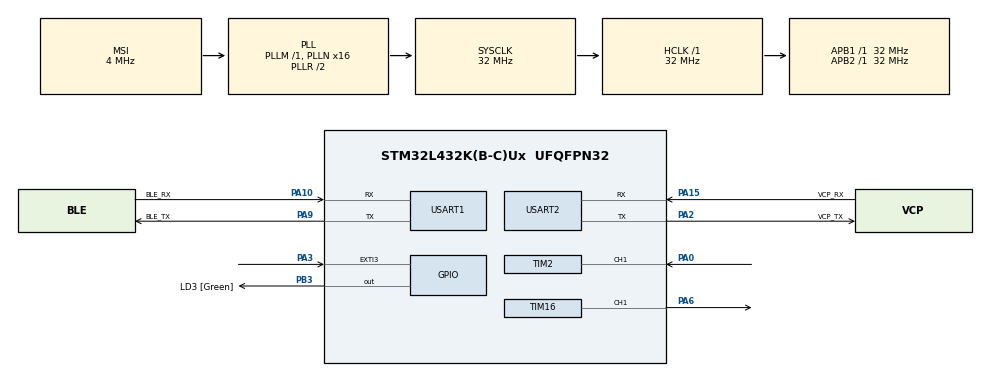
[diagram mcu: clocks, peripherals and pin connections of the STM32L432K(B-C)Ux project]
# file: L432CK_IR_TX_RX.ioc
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Dma.Request0=USART1_RX
Dma.Request1=USART1_TX
Dma.Request2=USART2_TX
Dma.USART1_RX.0.Direction=DMA_PERIPH_TO_MEMORY
Dma.USART1_RX.0.Instance=DMA1_Channel5
Dma.USART1_RX.0.MemDataAlignment=DMA_MDATAALIGN_BYTE
Dma.USART1_RX.0.MemInc=DMA_MINC_ENABLE
Dma.USART1_RX.0.Mode=DMA_CIRCULAR
Dma.USART1_RX.0.PeriphDataAlignment=DMA_PDATAALIGN_BYTE
Dma.USART1_RX.0.PeriphInc=DMA_PINC_DISABLE
Dma.USART1_RX.0.Priority=DMA_PRIORITY_LOW
Dma.USART1_TX.1.Direction=DMA_MEMORY_TO_PERIPH
Dma.USART1_TX.1.Instance=DMA1_Channel4
Dma.USART1_TX.1.MemDataAlignment=DMA_MDATAALIGN_BYTE
Dma.USART1_TX.1.MemInc=DMA_MINC_ENABLE
Dma.USART1_TX.1.Mode=DMA_NORMAL
Dma.USART1_TX.1.PeriphDataAlignment=DMA_PDATAALIGN_BYTE
Dma.USART1_TX.1.PeriphInc=DMA_PINC_DISABLE
Dma.USART1_TX.1.Priority=DMA_PRIORITY_LOW
Dma.USART2_TX.2.Direction=DMA_MEMORY_TO_PERIPH
Dma.USART2_TX.2.Instance=DMA1_Channel7
Dma.USART2_TX.2.MemDataAlignment=DMA_MDATAALIGN_BYTE
Dma.USART2_TX.2.MemInc=DMA_MINC_ENABLE
Dma.USART2_TX.2.Mode=DMA_NORMAL
Dma.USART2_TX.2.PeriphDataAlignment=DMA_PDATAALIGN_BYTE
Dma.USART2_TX.2.PeriphInc=DMA_PINC_DISABLE
Dma.USART2_TX.2.Priority=DMA_PRIORITY_LOW
Mcu.Family=STM32L4
Mcu.Name=STM32L432K(B-C)Ux
Mcu.Package=UFQFPN32
NVIC.DMA1_Channel4_IRQn=true\:4\:0\:false\:false\:true\:false\:true\:true
NVIC.DMA1_Channel5_IRQn=true\:4\:0\:false\:false\:true\:false\:true\:true
NVIC.DMA1_Channel7_IRQn=true\:4\:0\:false\:false\:true\:false\:true\:true
NVIC.EXTI3_IRQn=true\:3\:0\:true\:false\:true\:true\:true\:true
NVIC.PriorityGroup=NVIC_PRIORITYGROUP_4
NVIC.TIM1_BRK_TIM15_IRQn=true\:2\:0\:true\:false\:true\:true\:true\:true
NVIC.TIM2_IRQn=true\:1\:0\:true\:false\:true\:true\:true\:true
NVIC.USART1_IRQn=true\:4\:0\:false\:false\:true\:true\:true\:true
NVIC.USART2_IRQn=true\:4\:0\:false\:false\:true\:true\:true\:true
PA0.Signal=S_TIM2_CH1
PA10.GPIO_Label=BLE_RX
PA10.Mode=Asynchronous
PA10.Signal=USART1_RX
PA13\ (JTMS-SWDIO).GPIO_Label=SWDIO
PA13\ (JTMS-SWDIO).Mode=Serial_Wire
PA13\ (JTMS-SWDIO).Signal=SYS_JTMS-SWDIO
PA14\ (JTCK-SWCLK).GPIO_Label=SWCLK
PA14\ (JTCK-SWCLK).Mode=Serial_Wire
PA14\ (JTCK-SWCLK).Signal=SYS_JTCK-SWCLK
PA15\ (JTDI).GPIO_Label=VCP_RX
PA15\ (JTDI).Mode=Asynchronous
PA15\ (JTDI).Signal=USART2_RX
PA2.GPIO_Label=VCP_TX
PA2.Mode=Asynchronous
PA2.Signal=USART2_TX
PA3.Signal=GPXTI3
PA6.Signal=S_TIM16_CH1
PA9.GPIO_Label=BLE_TX
PA9.Mode=Asynchronous
PA9.Signal=USART1_TX
PB3\ (JTDO-TRACESWO).GPIO_Label=LD3 [Green]
PB3\ (JTDO-TRACESWO).Signal=GPIO_Output
ProjectManager.HeapSize=0x200
ProjectManager.StackSize=0x400
ProjectManager.TargetToolchain=MDK-ARM V5.32
RCC.AHBFreq_Value=32000000
RCC.APB1Freq_Value=32000000
RCC.APB1TimFreq_Value=32000000
RCC.APB2Freq_Value=32000000
RCC.APB2TimFreq_Value=32000000
RCC.CortexFreq_Value=32000000
RCC.HCLKFreq_Value=32000000
RCC.HSE_VALUE=8000000
RCC.HSI16_VALUE=16000000
RCC.HSI48_VALUE=48000000
RCC.HSI_VALUE=16000000
RCC.LSE_VALUE=32768
RCC.MSI_VALUE=4000000
RCC.PLLMUL=RCC_PLLMUL_4
RCC.PLLN=16
RCC.SYSCLKFreq_VALUE=32000000
RCC.SYSCLKSource=RCC_SYSCLKSOURCE_PLLCLK
RCC.VCOOutputFreq_Value=64000000
SH.S_TIM16_CH1.0=TIM16_CH1,PWM Generation1 CH1
SH.S_TIM2_CH1.0=TIM2_CH1,PWM_Input_1
TIM15.AutoReloadPreload=TIM_AUTORELOAD_PRELOAD_ENABLE
TIM15.Period=888
TIM15.Prescaler=31
TIM15.TIM_MasterOutputTrigger=TIM_TRGO_RESET
TIM16.AutoReloadPreload=TIM_AUTORELOAD_PRELOAD_ENABLE
TIM16.Channel=TIM_CHANNEL_1
TIM16.Period=842
TIM16.Pulse=210
TIM2.ICPolarity_1=TIM_INPUTCHANNELPOLARITY_FALLING
TIM2.Period=3700
TIM2.Prescaler=31
TIM2.TIM_MasterOutputTrigger=TIM_TRGO_RESET
USART1.VirtualMode-Asynchronous=VM_ASYNC
USART2.VirtualMode-Asynchronous=VM_ASYNC
VP_TIM15_VS_ClockSourceINT.Mode=Internal
VP_TIM16_VS_ClockSourceINT.Mode=Enable_Timer
VP_TIM2_VS_ClockSourceINT.Mode=Internal
board=NUCLEO-L432KC

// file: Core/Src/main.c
/* USER CODE BEGIN Header */
/**
  ******************************************************************************
  * @file           : main.c
  * @brief          : Main program body
  ******************************************************************************
  * @attention
  *
  * Copyright (c) 2026 STMicroelectronics.
  * All rights reserved.
  *
  * This software is licensed under terms that can be found in the LICENSE file
  * in the root directory of this software component.
  * If no LICENSE file comes with this software, it is provided AS-IS.
  *
  ******************************************************************************
  */
/* USER CODE END Header */
#include "main.h"

/* USER CODE BEGIN Includes */
#include "ir_transceiver.h"
#include "rc5_decode.h"
#include "rc5_encode.h"
#include <stdio.h>
#include <stdarg.h>
#include <stdlib.h>
#include <string.h>
/* USER CODE END Includes */

/* USER CODE BEGIN PTD */
typedef struct
{
  char player_name[17];
  uint32_t team_color_rgb;
  uint8_t current_hitpoints;
  uint8_t max_hitpoints;
  uint8_t rc5_address;
} App_PlayerState_t;
/* USER CODE END PTD */

/* USER CODE BEGIN PD */
#define DEBOUNCE_MS                 300U
#define PLAYER_ADDRESS_COUNT        32U
#define BLE_RX_DMA_BUFFER_SIZE      128U
#define BLE_COMMAND_BUFFER_SIZE     96U
#define BLE_TX_QUEUE_DEPTH          64U
#define BLE_TX_MAX_MESSAGE_SIZE     160U
#define UART2_TX_QUEUE_DEPTH        64U
#define UART2_TX_MAX_MESSAGE_SIZE   160U
#define BLE_STARTUP_BANNER_DELAY_MS 750U
#define APP_PLAYER_NAME_MAX_LENGTH  16U
#define APP_DEFAULT_PLAYER_NAME     "Player 1"
#define APP_DEFAULT_TEAM_COLOR      0x1F4EFFUL
#define APP_DEFAULT_MAX_HITPOINTS   5U
#define HUD_PREFIX                  "HUD:"

/* USER CODE END PD */

TIM_HandleTypeDef htim2;
TIM_HandleTypeDef htim15;
TIM_HandleTypeDef htim16;

UART_HandleTypeDef huart1;
UART_HandleTypeDef huart2;
DMA_HandleTypeDef hdma_usart1_rx;
DMA_HandleTypeDef hdma_usart1_tx;
DMA_HandleTypeDef hdma_usart2_tx;

/* USER CODE BEGIN PV */
static uint8_t toggle_bit = 0U;
static uint8_t tx_address = 0U;
static uint8_t tx_command = 0U;
static volatile uint8_t button_pressed = 0U;
static uint32_t last_button_tick = 0U;
static uint32_t led_off_tick = 0U;
static uint8_t led_is_on = 0U;
static uint32_t total_hits = 0U;
static uint32_t hit_count_by_address[PLAYER_ADDRESS_COUNT];
static uint8_t ble_rx_dma_buffer[BLE_RX_DMA_BUFFER_SIZE];
static uint16_t ble_rx_last_pos = 0U;
static char ble_command_buffer[BLE_COMMAND_BUFFER_SIZE];
static uint16_t ble_command_length = 0U;
static volatile uint8_t ble_tx_busy = 0U;
static volatile uint8_t ble_tx_queue_head = 0U;
static volatile uint8_t ble_tx_queue_tail = 0U;
static volatile uint8_t ble_tx_queue_count = 0U;
static char ble_tx_queue[BLE_TX_QUEUE_DEPTH][BLE_TX_MAX_MESSAGE_SIZE];
static uint16_t ble_tx_lengths[BLE_TX_QUEUE_DEPTH];
static uint8_t ble_startup_banner_sent = 0U;
static App_PlayerState_t player_state;
static volatile uint8_t uart2_tx_busy = 0U;
static volatile uint8_t uart2_tx_queue_head = 0U;
static volatile uint8_t uart2_tx_queue_tail = 0U;
static volatile uint8_t uart2_tx_queue_count = 0U;
static char uart2_tx_queue[UART2_TX_QUEUE_DEPTH][UART2_TX_MAX_MESSAGE_SIZE];
static uint16_t uart2_tx_lengths[UART2_TX_QUEUE_DEPTH];
/* USER CODE END PV */

void SystemClock_Config(void);
static void MX_GPIO_Init(void);
static void MX_DMA_Init(void);
static void MX_USART2_UART_Init(void);
static void MX_TIM2_Init(void);
static void MX_TIM15_Init(void);
static void MX_TIM16_Init(void);
static void MX_USART1_UART_Init(void);
/* USER CODE BEGIN PFP */
static void App_SendDebug(const char *format, ...);
static void App_InitPlayerState(void);
static void App_BlinkStatusLed(uint32_t duration_ms);
static void App_ProcessStatusLed(void);
static void App_RegisterHit(uint8_t address);
static uint8_t App_ConsumeHitpoint(void);
static uint8_t App_ParseUnsignedValue(const char *text, uint32_t min_value,
                                      uint32_t max_value, uint32_t *value_out);
static uint8_t App_TryParseTextValue(const char *line, const char *prefix,
                                     char *value_out, size_t value_out_size);
static uint8_t App_ParseColorValue(const char *text, uint32_t *color_out);
static void Ble_StartReception(void);
static void Ble_ProcessRxDma(void);
static void Ble_ProcessRxChunk(const uint8_t *data, uint16_t length);
static void Ble_ProcessLine(const char *line);
static void Ble_ProcessAppCommand(const char *line);
static uint8_t Ble_TryParseCommandValue(const char *line, const char *prefix,
                                        uint32_t max_value, uint32_t *value_out);
static void Ble_ReportCurrentSettings(void);
static void Ble_ReportCurrentHits(void);
static void Ble_ResetHits(void);
static void Ble_AppQueueBytes(const uint8_t *data, uint16_t length);
static void Ble_AppQueueString(const char *text);
static void Ble_AppQueueFormatted(const char *format, ...);
static void Ble_QueueBytes(const uint8_t *data, uint16_t length);
static void Ble_KickTx(void);
static void Ble_SendStartupBanner(void);
static void Ble_ServiceStartupBanner(void);
static void Uart2_QueueBytes(const uint8_t *data, uint16_t length);
static void Uart2_QueueFormatted(const char *format, ...);
static void Uart2_KickTx(void);
static void Hud_SendNameUpdate(void);
static void Hud_SendColorUpdate(void);
static void Hud_SendHitpointUpdate(void);
static void Hud_SendFullState(void);

/* USER CODE END PFP */

/* USER CODE BEGIN 0 */
static void App_SendDebug(const char *format, ...)
{
  char buffer[UART2_TX_MAX_MESSAGE_SIZE];
  va_list args;
  int length;

  va_start(args, format);
  length = vsnprintf(buffer, sizeof(buffer), format, args);
  va_end(args);

  if (length <= 0)
  {
    return;
  }

  if (length >= (int)sizeof(buffer))
  {
    length = (int)sizeof(buffer) - 1;
  }

  Uart2_QueueBytes((const uint8_t *)buffer, (uint16_t)length);
}

static void App_InitPlayerState(void)
{
  strncpy(player_state.player_name, APP_DEFAULT_PLAYER_NAME, APP_PLAYER_NAME_MAX_LENGTH);
  player_state.player_name[APP_PLAYER_NAME_MAX_LENGTH] = '\0';
  player_state.team_color_rgb = APP_DEFAULT_TEAM_COLOR;
  player_state.max_hitpoints = APP_DEFAULT_MAX_HITPOINTS;
  player_state.current_hitpoints = APP_DEFAULT_MAX_HITPOINTS;
  player_state.rc5_address = tx_address;
}

static void App_BlinkStatusLed(uint32_t duration_ms)
{
  HAL_GPIO_WritePin(LD3_GPIO_Port, LD3_Pin, GPIO_PIN_SET);
  led_is_on = 1U;
  led_off_tick = HAL_GetTick() + duration_ms;
}

static void App_ProcessStatusLed(void)
{
  if ((led_is_on != 0U) && ((int32_t)(HAL_GetTick() - led_off_tick) >= 0))
  {
    HAL_GPIO_WritePin(LD3_GPIO_Port, LD3_Pin, GPIO_PIN_RESET);
    led_is_on = 0U;
  }
}

static void App_RegisterHit(uint8_t address)
{
  if (address < PLAYER_ADDRESS_COUNT)
  {
    hit_count_by_address[address]++;
    total_hits++;
  }
}

static uint8_t App_ConsumeHitpoint(void)
{
  if (player_state.current_hitpoints == 0U)
  {
    return 0U;
  }

  player_state.current_hitpoints--;
  Hud_SendHitpointUpdate();
  return 1U;
}

static uint8_t App_ParseUnsignedValue(const char *text, uint32_t min_value,
                                      uint32_t max_value, uint32_t *value_out)
{
  char *end_ptr;
  unsigned long parsed_value;

  if ((text == NULL) || (*text == '\0') || (value_out == NULL))
  {
    return 0U;
  }

  parsed_value = strtoul(text, &end_ptr, 0);
  if ((*end_ptr != '\0') || (parsed_value < min_value) || (parsed_value > max_value))
  {
    return 0U;
  }

  *value_out = (uint32_t)parsed_value;
  return 1U;
}

static uint8_t App_TryParseTextValue(const char *line, const char *prefix,
                                     char *value_out, size_t value_out_size)
{
  const char *value_text;
  size_t prefix_length;
  size_t value_length;

  if ((line == NULL) || (prefix == NULL) || (value_out == NULL) || (value_out_size < 2U))
  {
    return 0U;
  }

  prefix_length = strlen(prefix);
  if (strncmp(line, prefix, prefix_length) != 0)
  {
    return 0U;
  }

  value_text = line + prefix_length;
  while (*value_text == ' ')
  {
    value_text++;
  }

  value_length = strlen(value_text);
  while ((value_length > 0U) && (value_text[value_length - 1U] == ' '))
  {
    value_length--;
  }

  if ((value_length >= 2U) && (value_text[0] == '"') && (value_text[value_length - 1U] == '"'))
  {
    value_text++;
    value_length -= 2U;
  }

  if ((value_length == 0U) || (value_length >= value_out_size))
  {
    return 0U;
  }

  memcpy(value_out, value_text, value_length);
  value_out[value_length] = '\0';
  return 1U;
}

static uint8_t App_ParseColorValue(const char *text, uint32_t *color_out)
{
  char *end_ptr;
  unsigned long parsed_value;

  if ((text == NULL) || (*text == '\0') || (color_out == NULL))
  {
    return 0U;
  }

  if (*text == '#')
  {
    text++;
    if (*text == '\0')
    {
      return 0U;
    }

    parsed_value = strtoul(text, &end_ptr, 16);
  }
  else
  {
    parsed_value = strtoul(text, &end_ptr, 0);
  }

  if ((*end_ptr != '\0') || (parsed_value > 0xFFFFFFUL))
  {
    return 0U;
  }

  *color_out = (uint32_t)parsed_value;
  return 1U;
}

static void Ble_StartReception(void)
{
  ble_rx_last_pos = 0U;
  ble_command_length = 0U;
  ble_startup_banner_sent = 0U;

  if (HAL_UART_Receive_DMA(&huart1, ble_rx_dma_buffer, BLE_RX_DMA_BUFFER_SIZE) != HAL_OK)
  {
    Error_Handler();
  }

  __HAL_DMA_DISABLE_IT(&hdma_usart1_rx, DMA_IT_HT);
  __HAL_DMA_DISABLE_IT(&hdma_usart1_rx, DMA_IT_TC);
}

static void Ble_ProcessRxDma(void)
{
  uint16_t current_pos;

  current_pos = BLE_RX_DMA_BUFFER_SIZE - (uint16_t)__HAL_DMA_GET_COUNTER(&hdma_usart1_rx);

  if (current_pos == ble_rx_last_pos)
  {
    return;
  }

  if (current_pos > ble_rx_last_pos)
  {
    Ble_ProcessRxChunk(&ble_rx_dma_buffer[ble_rx_last_pos], current_pos - ble_rx_last_pos);
  }
  else
  {
    Ble_ProcessRxChunk(&ble_rx_dma_buffer[ble_rx_last_pos],
                       BLE_RX_DMA_BUFFER_SIZE - ble_rx_last_pos);

    if (current_pos > 0U)
    {
      Ble_ProcessRxChunk(&ble_rx_dma_buffer[0], current_pos);
    }
  }

  ble_rx_last_pos = current_pos;
}

static void Ble_ProcessRxChunk(const uint8_t *data, uint16_t length)
{
  uint16_t index;

  if ((data == NULL) || (length == 0U))
  {
    return;
  }

  for (index = 0U; index < length; index++)
  {
    const char current_char = (char)data[index];

    if ((current_char == '\r') || (current_char == '\n'))
    {
      if (ble_command_length > 0U)
      {
        ble_command_buffer[ble_command_length] = '\0';
        Ble_ProcessLine(ble_command_buffer);
        ble_command_length = 0U;
      }
    }
    else if ((current_char >= 32) && (current_char <= 126))
    {
      if (ble_command_length < (BLE_COMMAND_BUFFER_SIZE - 1U))
      {
        ble_command_buffer[ble_command_length++] = current_char;
      }
      else
      {
        ble_command_length = 0U;
        Ble_AppQueueString("ERROR: command too long\r\n");
      }
    }
  }
}

static uint8_t Ble_TryParseCommandValue(const char *line, const char *prefix,
                                        uint32_t max_value, uint32_t *value_out)
{
  char value_buffer[24];
  const char *value_text;
  size_t prefix_length;
  size_t value_length;

  if ((line == NULL) || (prefix == NULL))
  {
    return 0U;
  }

  prefix_length = strlen(prefix);
  if (strncmp(line, prefix, prefix_length) != 0)
  {
    return 0U;
  }

  value_text = line + prefix_length;
  while (*value_text == ' ')
  {
    value_text++;
  }

  if (*value_text == '"')
  {
    value_text++;
    value_length = strlen(value_text);

    if ((value_length < 1U) || (value_text[value_length - 1U] != '"'))
    {
      return 0U;
    }

    value_length--;
    if (value_length >= sizeof(value_buffer))
    {
      return 0U;
    }

    memcpy(value_buffer, value_text, value_length);
    value_buffer[value_length] = '\0';
    value_text = value_buffer;
  }
  else
  {
    value_length = strlen(value_text);
    while ((value_length > 0U) && (value_text[value_length - 1U] == ' '))
    {
      value_length--;
    }

    if (value_length >= sizeof(value_buffer))
    {
      return 0U;
    }

    memcpy(value_buffer, value_text, value_length);
    value_buffer[value_length] = '\0';
    value_text = value_buffer;
  }

  return App_ParseUnsignedValue(value_text, 0U, max_value, value_out);
}

static void Ble_ReportCurrentSettings(void)
{
  Ble_AppQueueFormatted("current_settings: address=%u (0x%02X), command=%u (0x%02X)\r\n",
                        tx_address, tx_address, tx_command, tx_command);
}

static void Ble_ReportCurrentHits(void)
{
  uint32_t address;

  Ble_AppQueueFormatted("current_hits: total=%lu\r\n", (unsigned long)total_hits);
  for (address = 0U; address < PLAYER_ADDRESS_COUNT; address++)
  {
    Ble_AppQueueFormatted("address[%02lu]=%lu\r\n",
                          (unsigned long)address,
                          (unsigned long)hit_count_by_address[address]);
  }
}

static void Ble_ResetHits(void)
{
  memset(hit_count_by_address, 0, sizeof(hit_count_by_address));
  total_hits = 0U;
  player_state.current_hitpoints = player_state.max_hitpoints;
  Hud_SendHitpointUpdate();
  Ble_AppQueueString("OK: hit counters reset\r\n");
}

static void Ble_ProcessLine(const char *line)
{
  if ((line == NULL) || (*line == '\0'))
  {
    return;
  }

  Ble_ProcessAppCommand(line);
}

static void Ble_ProcessAppCommand(const char *line)
{
  uint32_t new_value;
  char text_value[APP_PLAYER_NAME_MAX_LENGTH + 8U];

  if ((line == NULL) || (*line == '\0'))
  {
    return;
  }

  App_SendDebug("[BLE-CMD] %s\r\n", line);

  if (strcmp(line, "current_settings") == 0)
  {
    Ble_ReportCurrentSettings();
  }
  else if (Ble_TryParseCommandValue(line, "set_address:", PLAYER_ADDRESS_COUNT - 1U,
                                    &new_value) != 0U)
  {
    tx_address = (uint8_t)new_value;
    player_state.rc5_address = tx_address;
    Ble_AppQueueFormatted("OK: address set to %u (0x%02X)\r\n", tx_address, tx_address);
  }
  else if (strncmp(line, "set_address:", 12) == 0)
  {
    Ble_AppQueueString("ERROR: address must be 0..31\r\n");
  }
  else if (Ble_TryParseCommandValue(line, "set_command:", 63U, &new_value) != 0U)
  {
    tx_command = (uint8_t)new_value;
    Ble_AppQueueFormatted("OK: command set to %u (0x%02X)\r\n", tx_command, tx_command);
  }
  else if (strncmp(line, "set_command:", 12) == 0)
  {
    Ble_AppQueueString("ERROR: command must be 0..63\r\n");
  }
  else if (strcmp(line, "current_hits") == 0)
  {
    Ble_ReportCurrentHits();
  }
  else if (strcmp(line, "reset_hits") == 0)
  {
    Ble_ResetHits();
  }
  else if (App_TryParseTextValue(line, "set_name:", text_value, sizeof(text_value)) != 0U)
  {
    strncpy(player_state.player_name, text_value, APP_PLAYER_NAME_MAX_LENGTH);
    player_state.player_name[APP_PLAYER_NAME_MAX_LENGTH] = '\0';
    Hud_SendNameUpdate();
    Ble_AppQueueFormatted("OK: player name set to \"%s\"\r\n", player_state.player_name);
  }
  else if (strncmp(line, "set_name:", 9) == 0)
  {
    Ble_AppQueueFormatted("ERROR: name must be 1..%u visible characters\r\n",
                          APP_PLAYER_NAME_MAX_LENGTH);
  }
  else if (App_TryParseTextValue(line, "set_color:", text_value, sizeof(text_value)) != 0U)
  {
    if (App_ParseColorValue(text_value, &new_value) != 0U)
    {
      player_state.team_color_rgb = new_value;
      Hud_SendColorUpdate();
      Ble_AppQueueFormatted("OK: team color set to #%06lX\r\n",
                            (unsigned long)player_state.team_color_rgb);
    }
    else
    {
      Ble_AppQueueString("ERROR: color must be #RRGGBB, 0xRRGGBB or decimal\r\n");
    }
  }
  else if (strncmp(line, "set_color:", 10) == 0)
  {
    Ble_AppQueueString("ERROR: color must be #RRGGBB, 0xRRGGBB or decimal\r\n");
  }
  else if (strcmp(line, "simulate_hit") == 0)
  {
    App_RegisterHit(player_state.rc5_address);
    (void)App_ConsumeHitpoint();
    Ble_AppQueueFormatted("OK: simulated hit processed, hp=%u/%u\r\n",
                          player_state.current_hitpoints, player_state.max_hitpoints);
    App_SendDebug("[SIM] HP %u/%u on address 0x%02X\r\n",
                  player_state.current_hitpoints, player_state.max_hitpoints,
                  player_state.rc5_address);
  }
  else
  {
    Ble_AppQueueString("ERROR: unknown command\r\n");
  }
}

static void Ble_AppQueueBytes(const uint8_t *data, uint16_t length)
{
  Ble_QueueBytes(data, length);
}

static void Ble_AppQueueString(const char *text)
{
  if (text != NULL)
  {
    Ble_AppQueueBytes((const uint8_t *)text, (uint16_t)strlen(text));
  }
}

static void Ble_AppQueueFormatted(const char *format, ...)
{
  char buffer[BLE_TX_MAX_MESSAGE_SIZE];
  va_list args;
  int length;

  va_start(args, format);
  length = vsnprintf(buffer, sizeof(buffer), format, args);
  va_end(args);

  if (length <= 0)
  {
    return;
  }

  if (length >= (int)sizeof(buffer))
  {
    length = (int)sizeof(buffer) - 1;
  }

  Ble_QueueBytes((const uint8_t *)buffer, (uint16_t)length);
}

static void Ble_QueueBytes(const uint8_t *data, uint16_t length)
{
  uint8_t slot;

  if ((data == NULL) || (length == 0U))
  {
    return;
  }

  if (length >= BLE_TX_MAX_MESSAGE_SIZE)
  {
    length = BLE_TX_MAX_MESSAGE_SIZE - 1U;
  }

  __disable_irq();
  if (ble_tx_queue_count >= BLE_TX_QUEUE_DEPTH)
  {
    __enable_irq();
    return;
  }

  slot = ble_tx_queue_tail;
  memcpy(ble_tx_queue[slot], data, length);
  ble_tx_queue[slot][length] = '\0';
  ble_tx_lengths[slot] = length;
  ble_tx_queue_tail = (uint8_t)((ble_tx_queue_tail + 1U) % BLE_TX_QUEUE_DEPTH);
  ble_tx_queue_count++;
  __enable_irq();

  Ble_KickTx();
}

static void Ble_KickTx(void)
{
  uint8_t slot;
  uint8_t should_start = 0U;

  __disable_irq();
  if ((ble_tx_busy == 0U) && (ble_tx_queue_count > 0U))
  {
    slot = ble_tx_queue_head;
    ble_tx_busy = 1U;
    should_start = 1U;
  }
  else
  {
    slot = 0U;
  }
  __enable_irq();

  if (should_start != 0U)
  {
    if (HAL_UART_Transmit_DMA(&huart1, (uint8_t *)ble_tx_queue[slot],
                              ble_tx_lengths[slot]) != HAL_OK)
    {
      __disable_irq();
      ble_tx_busy = 0U;
      __enable_irq();
    }
  }
}

static void Ble_SendStartupBanner(void)
{
  Ble_AppQueueString("Hello BLE\r\n");
  Ble_AppQueueString("[BOOT] BLE command interface ready\r\n");
  Ble_AppQueueString("Commands: current_settings, set_address:\"x\", set_command:\"x\", current_hits, reset_hits, set_name:\"text\", set_color:\"#RRGGBB\", simulate_hit\r\n");
}

static void Ble_ServiceStartupBanner(void)
{
  if (ble_startup_banner_sent != 0U)
  {
    return;
  }

  if (HAL_GetTick() < BLE_STARTUP_BANNER_DELAY_MS)
  {
    return;
  }

  Ble_SendStartupBanner();
  ble_startup_banner_sent = 1U;
}

static void Uart2_QueueBytes(const uint8_t *data, uint16_t length)
{
  uint8_t slot;

  if ((data == NULL) || (length == 0U))
  {
    return;
  }

  if (length >= UART2_TX_MAX_MESSAGE_SIZE)
  {
    length = UART2_TX_MAX_MESSAGE_SIZE - 1U;
  }

  __disable_irq();
  if (uart2_tx_queue_count >= UART2_TX_QUEUE_DEPTH)
  {
    __enable_irq();
    return;
  }

  slot = uart2_tx_queue_tail;
  memcpy(uart2_tx_queue[slot], data, length);
  uart2_tx_queue[slot][length] = '\0';
  uart2_tx_lengths[slot] = length;
  uart2_tx_queue_tail = (uint8_t)((uart2_tx_queue_tail + 1U) % UART2_TX_QUEUE_DEPTH);
  uart2_tx_queue_count++;
  __enable_irq();

  Uart2_KickTx();
}

static void Uart2_QueueFormatted(const char *format, ...)
{
  char buffer[UART2_TX_MAX_MESSAGE_SIZE];
  va_list args;
  int length;

  va_start(args, format);
  length = vsnprintf(buffer, sizeof(buffer), format, args);
  va_end(args);

  if (length <= 0)
  {
    return;
  }

  if (length >= (int)sizeof(buffer))
  {
    length = (int)sizeof(buffer) - 1;
  }

  Uart2_QueueBytes((const uint8_t *)buffer, (uint16_t)length);
}

static void Uart2_KickTx(void)
{
  uint8_t slot;
  uint8_t should_start = 0U;

  __disable_irq();
  if ((uart2_tx_busy == 0U) && (uart2_tx_queue_count > 0U))
  {
    slot = uart2_tx_queue_head;
    uart2_tx_busy = 1U;
    should_start = 1U;
  }
  else
  {
    slot = 0U;
  }
  __enable_irq();

  if (should_start != 0U)
  {
    if (HAL_UART_Transmit_DMA(&huart2, (uint8_t *)uart2_tx_queue[slot],
                              uart2_tx_lengths[slot]) != HAL_OK)
    {
      __disable_irq();
      uart2_tx_busy = 0U;
      __enable_irq();
    }
  }
}

static void Hud_SendNameUpdate(void)
{
  Uart2_QueueFormatted(HUD_PREFIX "NAME:%s\r\n", player_state.player_name);
}

static void Hud_SendColorUpdate(void)
{
  Uart2_QueueFormatted(HUD_PREFIX "COLOR:#%06lX\r\n",
                       (unsigned long)player_state.team_color_rgb);
}

static void Hud_SendHitpointUpdate(void)
{
  Uart2_QueueFormatted(HUD_PREFIX "HP:%u/%u\r\n",
                       player_state.current_hitpoints, player_state.max_hitpoints);
}

static void Hud_SendFullState(void)
{
  Hud_SendNameUpdate();
  Hud_SendColorUpdate();
  Hud_SendHitpointUpdate();
}

void HAL_GPIO_EXTI_Callback(uint16_t GPIO_Pin)
{
  if (GPIO_Pin == GPIO_PIN_3)  /* PA3 — BTN_TX */
  {
    if (HAL_GPIO_ReadPin(GPIOA, GPIO_PIN_3) != GPIO_PIN_SET) return;

    uint32_t now = HAL_GetTick();
    if ((now - last_button_tick) < DEBOUNCE_MS) return;
    last_button_tick = now;

    if (button_pressed) return;
    button_pressed = 1U;
  }
}

void HAL_UART_TxCpltCallback(UART_HandleTypeDef *huart)
{
  if (huart->Instance == USART1)
  {
    __disable_irq();
    if (ble_tx_queue_count > 0U)
    {
      ble_tx_queue_head = (uint8_t)((ble_tx_queue_head + 1U) % BLE_TX_QUEUE_DEPTH);
      ble_tx_queue_count--;
    }
    ble_tx_busy = 0U;
    __enable_irq();

    Ble_KickTx();
  }
  else if (huart->Instance == USART2)
  {
    __disable_irq();
    if (uart2_tx_queue_count > 0U)
    {
      uart2_tx_queue_head = (uint8_t)((uart2_tx_queue_head + 1U) % UART2_TX_QUEUE_DEPTH);
      uart2_tx_queue_count--;
    }
    uart2_tx_busy = 0U;
    __enable_irq();

    Uart2_KickTx();
  }
}

void HAL_UART_ErrorCallback(UART_HandleTypeDef *huart)
{
  if (huart->Instance == USART1)
  {
    App_SendDebug("[BLE] USART1 error, restarting DMA reception\r\n");
    HAL_UART_DMAStop(&huart1);
    Ble_StartReception();
  }
}
/* USER CODE END 0 */

int main(void)
{

  /* MCU Configuration--------------------------------------------------------*/

  /* Reset of all peripherals, Initializes the Flash interface and the Systick. */
  HAL_Init();

  /* Configure the system clock */
  SystemClock_Config();

  /* Initialize all configured peripherals */
  MX_GPIO_Init();
  MX_DMA_Init();
  MX_USART2_UART_Init();
  MX_TIM2_Init();
  MX_TIM15_Init();
  MX_TIM16_Init();
  MX_USART1_UART_Init();
  /* USER CODE BEGIN 2 */
  IR_Transceiver_Init();
  Ble_StartReception();
  App_InitPlayerState();

  App_SendDebug("\r\n[BOOT] IR TX/RX ready on USART2 (115200-8N1)\r\n");
  App_SendDebug("[BOOT] USART1 linked to LilyGO BLE bridge with DMA RX circular + DMA TX\r\n");
  App_SendDebug("[BOOT] Transparent BLE-UART mode active on USART1\r\n");
  App_SendDebug("[BOOT] HUD updates share USART2 via DMA with prefix %s\r\n", HUD_PREFIX);
  Hud_SendFullState();
  /* USER CODE END 2 */

  /* Infinite loop */
  while (1)
  {

    /* USER CODE BEGIN 3 */

    App_ProcessStatusLed();
    Ble_ProcessRxDma();
    Ble_ServiceStartupBanner();
    IR_Transceiver_Process();

    /* --- TX trigger from the local button --- */
    if (button_pressed != 0U)
    {
      uint8_t next_toggle = (uint8_t)(toggle_bit ^ 1U);

      button_pressed = 0U;

      if ((IR_GetState() == IR_STATE_IDLE) &&
          (IR_StartTransmit(next_toggle, tx_address, tx_command) == 0U))
      {
        toggle_bit = next_toggle;
        App_RegisterHit(tx_address);
        (void)App_ConsumeHitpoint();

        App_SendDebug("[TX] Addr:0x%02X Cmd:0x%02X Tog:%u\r\n",
                      tx_address, tx_command, toggle_bit);
        App_SendDebug("[SELF-TEST] address 0x%02X hits:%lu\r\n",
                      tx_address, (unsigned long)hit_count_by_address[tx_address]);
        App_SendDebug("[HUD] Self-test -> HP %u/%u\r\n",
                      player_state.current_hitpoints,
                      player_state.max_hitpoints);
      }
      else
      {
        App_SendDebug("[TX] Ignored because IR is busy or repeat guard is active\r\n");
      }
    }

    /* --- RX frame received --- */
    if (RC5FrameReceived && IR_GetState() == IR_STATE_IDLE)
    {
      RC5_Decode(&RC5_FRAME);
      App_RegisterHit(RC5_FRAME.Address);

      App_SendDebug("[RX] Addr:0x%02X Cmd:0x%02X Tog:%u Hits:%lu\r\n",
                    RC5_FRAME.Address, RC5_FRAME.Command, RC5_FRAME.ToggleBit,
                    (unsigned long)hit_count_by_address[RC5_FRAME.Address]);

      if (RC5_FRAME.Address == player_state.rc5_address)
      {
        (void)App_ConsumeHitpoint();
        App_SendDebug("[HUD] Own hit on address 0x%02X -> HP %u/%u\r\n",
                      player_state.rc5_address,
                      player_state.current_hitpoints,
                      player_state.max_hitpoints);
      }

      App_BlinkStatusLed(100U);
    }
  }
  /* USER CODE END 3 */
}

void SystemClock_Config(void)
{
  RCC_OscInitTypeDef RCC_OscInitStruct = {0};
  RCC_ClkInitTypeDef RCC_ClkInitStruct = {0};

  /** Configure the main internal regulator output voltage
  */
  if (HAL_PWREx_ControlVoltageScaling(PWR_REGULATOR_VOLTAGE_SCALE1) != HAL_OK)
  {
    Error_Handler();
  }

  /** Initializes the RCC Oscillators according to the specified parameters
  * in the RCC_OscInitTypeDef structure.
  */
  RCC_OscInitStruct.OscillatorType = RCC_OSCILLATORTYPE_MSI;
  RCC_OscInitStruct.MSIState = RCC_MSI_ON;
  RCC_OscInitStruct.MSICalibrationValue = 0;
  RCC_OscInitStruct.MSIClockRange = RCC_MSIRANGE_6;
  RCC_OscInitStruct.PLL.PLLState = RCC_PLL_ON;
  RCC_OscInitStruct.PLL.PLLSource = RCC_PLLSOURCE_MSI;
  RCC_OscInitStruct.PLL.PLLM = 1;
  RCC_OscInitStruct.PLL.PLLN = 16;
  RCC_OscInitStruct.PLL.PLLP = RCC_PLLP_DIV7;
  RCC_OscInitStruct.PLL.PLLQ = RCC_PLLQ_DIV2;
  RCC_OscInitStruct.PLL.PLLR = RCC_PLLR_DIV2;
  if (HAL_RCC_OscConfig(&RCC_OscInitStruct) != HAL_OK)
  {
    Error_Handler();
  }

  /** Initializes the CPU, AHB and APB buses clocks
  */
  RCC_ClkInitStruct.ClockType = RCC_CLOCKTYPE_HCLK|RCC_CLOCKTYPE_SYSCLK
                              |RCC_CLOCKTYPE_PCLK1|RCC_CLOCKTYPE_PCLK2;
  RCC_ClkInitStruct.SYSCLKSource = RCC_SYSCLKSOURCE_PLLCLK;
  RCC_ClkInitStruct.AHBCLKDivider = RCC_SYSCLK_DIV1;
  RCC_ClkInitStruct.APB1CLKDivider = RCC_HCLK_DIV1;
  RCC_ClkInitStruct.APB2CLKDivider = RCC_HCLK_DIV1;

  if (HAL_RCC_ClockConfig(&RCC_ClkInitStruct, FLASH_LATENCY_1) != HAL_OK)
  {
    Error_Handler();
  }
}

static void MX_TIM2_Init(void)
{

  TIM_ClockConfigTypeDef sClockSourceConfig = {0};
  TIM_SlaveConfigTypeDef sSlaveConfig = {0};
  TIM_IC_InitTypeDef sConfigIC = {0};
  TIM_MasterConfigTypeDef sMasterConfig = {0};

  htim2.Instance = TIM2;
  htim2.Init.Prescaler = 31;
  htim2.Init.CounterMode = TIM_COUNTERMODE_UP;
  htim2.Init.Period = 3700;
  htim2.Init.ClockDivision = TIM_CLOCKDIVISION_DIV1;
  htim2.Init.AutoReloadPreload = TIM_AUTORELOAD_PRELOAD_DISABLE;
  if (HAL_TIM_Base_Init(&htim2) != HAL_OK)
  {
    Error_Handler();
  }
  sClockSourceConfig.ClockSource = TIM_CLOCKSOURCE_INTERNAL;
  if (HAL_TIM_ConfigClockSource(&htim2, &sClockSourceConfig) != HAL_OK)
  {
    Error_Handler();
  }
  if (HAL_TIM_IC_Init(&htim2) != HAL_OK)
  {
    Error_Handler();
  }
  sSlaveConfig.SlaveMode = TIM_SLAVEMODE_RESET;
  sSlaveConfig.InputTrigger = TIM_TS_TI1FP1;
  sSlaveConfig.TriggerPolarity = TIM_INPUTCHANNELPOLARITY_FALLING;
  sSlaveConfig.TriggerPrescaler = TIM_ICPSC_DIV1;
  sSlaveConfig.TriggerFilter = 0;
  if (HAL_TIM_SlaveConfigSynchro(&htim2, &sSlaveConfig) != HAL_OK)
  {
    Error_Handler();
  }
  sConfigIC.ICPolarity = TIM_INPUTCHANNELPOLARITY_FALLING;
  sConfigIC.ICSelection = TIM_ICSELECTION_DIRECTTI;
  sConfigIC.ICPrescaler = TIM_ICPSC_DIV1;
  sConfigIC.ICFilter = 0;
  if (HAL_TIM_IC_ConfigChannel(&htim2, &sConfigIC, TIM_CHANNEL_1) != HAL_OK)
  {
    Error_Handler();
  }
  sConfigIC.ICPolarity = TIM_INPUTCHANNELPOLARITY_RISING;
  sConfigIC.ICSelection = TIM_ICSELECTION_INDIRECTTI;
  if (HAL_TIM_IC_ConfigChannel(&htim2, &sConfigIC, TIM_CHANNEL_2) != HAL_OK)
  {
    Error_Handler();
  }
  sMasterConfig.MasterOutputTrigger = TIM_TRGO_RESET;
  sMasterConfig.MasterSlaveMode = TIM_MASTERSLAVEMODE_DISABLE;
  if (HAL_TIMEx_MasterConfigSynchronization(&htim2, &sMasterConfig) != HAL_OK)
  {
    Error_Handler();
  }
  /* USER CODE BEGIN TIM2_Init 2 */

  /* Re-apply slave reset mode AFTER IC channel config, because
     HAL_TIM_IC_ConfigChannel on CH1 can clobber SMCR. */
  {
    TIM_SlaveConfigTypeDef sSlaveRe = {0};
    sSlaveRe.SlaveMode        = TIM_SLAVEMODE_RESET;
    sSlaveRe.InputTrigger     = TIM_TS_TI1FP1;
    sSlaveRe.TriggerPolarity  = TIM_TRIGGERPOLARITY_FALLING;
    sSlaveRe.TriggerPrescaler = TIM_ICPSC_DIV1;
    sSlaveRe.TriggerFilter    = 0;
    HAL_TIM_SlaveConfigSynchro(&htim2, &sSlaveRe);
  }

  /* USER CODE END TIM2_Init 2 */

}

static void MX_TIM15_Init(void)
{

  TIM_ClockConfigTypeDef sClockSourceConfig = {0};
  TIM_MasterConfigTypeDef sMasterConfig = {0};

  htim15.Instance = TIM15;
  htim15.Init.Prescaler = 31;
  htim15.Init.CounterMode = TIM_COUNTERMODE_UP;
  htim15.Init.Period = 888;
  htim15.Init.ClockDivision = TIM_CLOCKDIVISION_DIV1;
  htim15.Init.RepetitionCounter = 0;
  htim15.Init.AutoReloadPreload = TIM_AUTORELOAD_PRELOAD_ENABLE;
  if (HAL_TIM_Base_Init(&htim15) != HAL_OK)
  {
    Error_Handler();
  }
  sClockSourceConfig.ClockSource = TIM_CLOCKSOURCE_INTERNAL;
  if (HAL_TIM_ConfigClockSource(&htim15, &sClockSourceConfig) != HAL_OK)
  {
    Error_Handler();
  }
  sMasterConfig.MasterOutputTrigger = TIM_TRGO_RESET;
  sMasterConfig.MasterSlaveMode = TIM_MASTERSLAVEMODE_DISABLE;
  if (HAL_TIMEx_MasterConfigSynchronization(&htim15, &sMasterConfig) != HAL_OK)
  {
    Error_Handler();
  }

}

static void MX_TIM16_Init(void)
{

  TIM_OC_InitTypeDef sConfigOC = {0};
  TIM_BreakDeadTimeConfigTypeDef sBreakDeadTimeConfig = {0};

  htim16.Instance = TIM16;
  htim16.Init.Prescaler = 0;
  htim16.Init.CounterMode = TIM_COUNTERMODE_UP;
  htim16.Init.Period = 842;
  htim16.Init.ClockDivision = TIM_CLOCKDIVISION_DIV1;
  htim16.Init.RepetitionCounter = 0;
  htim16.Init.AutoReloadPreload = TIM_AUTORELOAD_PRELOAD_ENABLE;
  if (HAL_TIM_Base_Init(&htim16) != HAL_OK)
  {
    Error_Handler();
  }
  if (HAL_TIM_PWM_Init(&htim16) != HAL_OK)
  {
    Error_Handler();
  }
  sConfigOC.OCMode = TIM_OCMODE_PWM1;
  sConfigOC.Pulse = 210;
  sConfigOC.OCPolarity = TIM_OCPOLARITY_HIGH;
  sConfigOC.OCNPolarity = TIM_OCNPOLARITY_HIGH;
  sConfigOC.OCFastMode = TIM_OCFAST_DISABLE;
  sConfigOC.OCIdleState = TIM_OCIDLESTATE_RESET;
  sConfigOC.OCNIdleState = TIM_OCNIDLESTATE_RESET;
  if (HAL_TIM_PWM_ConfigChannel(&htim16, &sConfigOC, TIM_CHANNEL_1) != HAL_OK)
  {
    Error_Handler();
  }
  sBreakDeadTimeConfig.OffStateRunMode = TIM_OSSR_DISABLE;
  sBreakDeadTimeConfig.OffStateIDLEMode = TIM_OSSI_DISABLE;
  sBreakDeadTimeConfig.LockLevel = TIM_LOCKLEVEL_OFF;
  sBreakDeadTimeConfig.DeadTime = 0;
  sBreakDeadTimeConfig.BreakState = TIM_BREAK_DISABLE;
  sBreakDeadTimeConfig.BreakPolarity = TIM_BREAKPOLARITY_HIGH;
  sBreakDeadTimeConfig.AutomaticOutput = TIM_AUTOMATICOUTPUT_DISABLE;
  if (HAL_TIMEx_ConfigBreakDeadTime(&htim16, &sBreakDeadTimeConfig) != HAL_OK)
  {
    Error_Handler();
  }
  HAL_TIM_MspPostInit(&htim16);

}

static void MX_USART1_UART_Init(void)
{

  huart1.Instance = USART1;
  huart1.Init.BaudRate = 115200;
  huart1.Init.WordLength = UART_WORDLENGTH_8B;
  huart1.Init.StopBits = UART_STOPBITS_1;
  huart1.Init.Parity = UART_PARITY_NONE;
  huart1.Init.Mode = UART_MODE_TX_RX;
  huart1.Init.HwFlowCtl = UART_HWCONTROL_NONE;
  huart1.Init.OverSampling = UART_OVERSAMPLING_16;
  huart1.Init.OneBitSampling = UART_ONE_BIT_SAMPLE_DISABLE;
  huart1.AdvancedInit.AdvFeatureInit = UART_ADVFEATURE_NO_INIT;
  if (HAL_UART_Init(&huart1) != HAL_OK)
  {
    Error_Handler();
  }

}

static void MX_USART2_UART_Init(void)
{

  huart2.Instance = USART2;
  huart2.Init.BaudRate = 115200;
  huart2.Init.WordLength = UART_WORDLENGTH_8B;
  huart2.Init.StopBits = UART_STOPBITS_1;
  huart2.Init.Parity = UART_PARITY_NONE;
  huart2.Init.Mode = UART_MODE_TX_RX;
  huart2.Init.HwFlowCtl = UART_HWCONTROL_NONE;
  huart2.Init.OverSampling = UART_OVERSAMPLING_16;
  huart2.Init.OneBitSampling = UART_ONE_BIT_SAMPLE_DISABLE;
  huart2.AdvancedInit.AdvFeatureInit = UART_ADVFEATURE_NO_INIT;
  if (HAL_UART_Init(&huart2) != HAL_OK)
  {
    Error_Handler();
  }

}

static void MX_DMA_Init(void)
{

  /* DMA controller clock enable */
  __HAL_RCC_DMA1_CLK_ENABLE();

  /* DMA interrupt init */
  /* DMA1_Channel4_IRQn interrupt configuration */
  HAL_NVIC_SetPriority(DMA1_Channel4_IRQn, 4, 0);
  HAL_NVIC_EnableIRQ(DMA1_Channel4_IRQn);
  /* DMA1_Channel5_IRQn interrupt configuration */
  HAL_NVIC_SetPriority(DMA1_Channel5_IRQn, 4, 0);
  HAL_NVIC_EnableIRQ(DMA1_Channel5_IRQn);
  /* DMA1_Channel7_IRQn interrupt configuration */
  HAL_NVIC_SetPriority(DMA1_Channel7_IRQn, 4, 0);
  HAL_NVIC_EnableIRQ(DMA1_Channel7_IRQn);

}

static void MX_GPIO_Init(void)
{
  GPIO_InitTypeDef GPIO_InitStruct = {0};

  /* GPIO Ports Clock Enable */
  __HAL_RCC_GPIOA_CLK_ENABLE();
  __HAL_RCC_GPIOB_CLK_ENABLE();

  /*Configure GPIO pin Output Level */
  HAL_GPIO_WritePin(LD3_GPIO_Port, LD3_Pin, GPIO_PIN_RESET);

  /*Configure GPIO pin : PA3 */
  GPIO_InitStruct.Pin = GPIO_PIN_3;
  GPIO_InitStruct.Mode = GPIO_MODE_IT_RISING;
  GPIO_InitStruct.Pull = GPIO_NOPULL;
  HAL_GPIO_Init(GPIOA, &GPIO_InitStruct);

  /*Configure GPIO pin : LD3_Pin */
  GPIO_InitStruct.Pin = LD3_Pin;
  GPIO_InitStruct.Mode = GPIO_MODE_OUTPUT_PP;
  GPIO_InitStruct.Pull = GPIO_NOPULL;
  GPIO_InitStruct.Speed = GPIO_SPEED_FREQ_LOW;
  HAL_GPIO_Init(LD3_GPIO_Port, &GPIO_InitStruct);

  /* EXTI interrupt init*/
  HAL_NVIC_SetPriority(EXTI3_IRQn, 3, 0);
  HAL_NVIC_EnableIRQ(EXTI3_IRQn);

}

void Error_Handler(void)
{
  __disable_irq();
  while (1)
  {
  }
}
